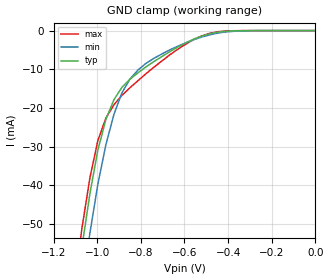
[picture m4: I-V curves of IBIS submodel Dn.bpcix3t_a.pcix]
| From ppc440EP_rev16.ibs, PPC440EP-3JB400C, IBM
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[Submodel]  Dn.bpcix3t_a.pcix
Submodel_type   Dynamic_clamp
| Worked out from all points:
|   GND clamp passes 1 mA (typ) near -0.49 V on its own axis
[GND Clamp]   | Note: Vtable =  Vout
| Voltage   I(typ)   I(min)   I(max)
-3.6V     -1.728A    -1.644A    -1.784A
-1.107V   -72.01mA   -82.27mA   -67.25mA
-1.07V    -55.94mA   -66.5mA    -51.13mA
-1.033V   -42.03mA   -52.2mA    -37.93mA
-997mV    -30.89mA   -39.72mA   -28.45mA
-960mV    -22.91mA   -29.44mA   -22.59mA
-923mV    -17.83mA   -21.6mA    -19.14mA
-887mV    -14.7mA    -16.13mA   -16.76mA
-813mV    -10.9mA    -10.17mA   -12.94mA
-630mV    -4.238mA   -4.016mA   -4.789mA
-483mV    -806uA     -1.079mA   -697uA
0V        0A         0A         0A
